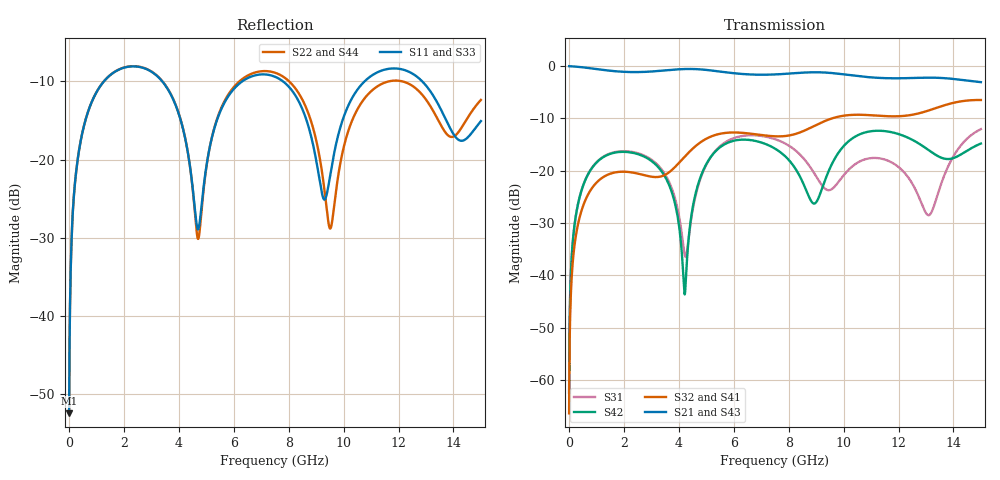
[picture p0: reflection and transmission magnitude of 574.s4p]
! Created with skrf 1.8.0 (http://scikit-rf.org).
# GHz S RI R 50.0
!freq ReS11 ImS11 ReS12 ImS12 ReS13 ImS13
! ReS14 ImS14
! ReS21 ImS21 ReS22 ImS22 ReS23 ImS23
! ReS24 ImS24
! ReS31 ImS31 ReS32 ImS32 ReS33 ImS33
! ReS34 ImS34
! ReS41 ImS41 ReS42 ImS42 ReS43 ImS43
! ReS44 ImS44
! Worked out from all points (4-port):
!   2499 points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, 5 MHz to 15 GHz, reference 50 ohm
!   strongest paths, dB at 5 MHz, 3.476 GHz, 7.19 GHz, 11.1 GHz, 15 GHz:
!     S21: 0.0, -0.8, -1.6, -2.2, -3.1
!     S43: 0.0, -0.8, -1.7, -2.2, -3.1
!     S32: -66.4, -20.8, -13.3, -9.4, -6.5
!     S41: -66.4, -20.9, -13.4, -9.5, -6.5
!     S42: -62.5, -20.9, -15.0, -12.4, -14.8
!     S31: -62.5, -20.5, -13.5, -17.6, -12.1
!   lowest |S11| = -52.4 dB at 5 MHz (marker M1), VSWR 1.00, Z = 50.2 + j0.146 ohm
!   |S11| at or under -10 dB: 3.393 GHz to 6.315 GHz (2.922 GHz wide, 60.2 % of centre); 7.788 GHz to 10.77 GHz (2.981 GHz wide, 32.1 % of centre); 12.86 GHz to end of sweep (the widest 3 of 4)
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0.005  0.00191 0.00145  0.9981 -0.00371  9.64e-05 0.000748  -9.36e-05 -0.000471
       0.9981 -0.00371  0.00191 0.00145  -9.36e-05 -0.000471  9.63e-05 0.000748
       9.64e-05 0.000748  -9.36e-05 -0.000471  0.00191 0.00145  0.9981 -0.00371
       -9.36e-05 -0.000471  9.63e-05 0.000748  0.9981 -0.00371  0.00191 0.00145
0.3626511  0.039 0.1066  0.9459 -0.2632  0.0189 0.0491  -0.0155 -0.03
           0.9459 -0.2632  0.0391 0.1066  -0.0155 -0.03  0.0184 0.0493
           0.0189 0.0491  -0.0155 -0.03  0.039 0.1066  0.9459 -0.2632
           -0.0155 -0.03  0.0184 0.0493  0.9459 -0.2632  0.0391 0.1066
1.675698  0.3379 0.1353  0.376 -0.8103  0.1478 0.0295  -0.0936 0.0218
          0.376 -0.8103  0.3393 0.1338  -0.0937 0.0221  0.1443 0.0371
          0.1478 0.0295  -0.0937 0.0221  0.3378 0.1355  0.376 -0.8103
          -0.0936 0.0218  0.1443 0.0371  0.376 -0.8103  0.3395 0.1337
4.214256  0.0738 -0.1202  -0.8588 -0.375  -0.0141 -0.00703  -0.0514 0.126
          -0.8588 -0.375  0.0697 -0.1235  -0.0495 0.1268  -0.00635 -0.00166
          -0.0141 -0.00703  -0.0495 0.1268  0.0747 -0.1204  -0.8588 -0.3749
          -0.0514 0.126  -0.00635 -0.00166  -0.8588 -0.3749  0.0693 -0.1243
5.483535  0.1391 0.1407  -0.7897 0.4048  0.1295 0.1096  0.1345 0.1798
          -0.7897 0.4048  0.1392 0.1451  0.1373 0.1782  0.1137 0.1211
          0.1295 0.1096  0.1373 0.1782  0.1392 0.1399  -0.7895 0.4051
          0.1345 0.1798  0.1137 0.1211  -0.7895 0.4051  0.1392 0.1455
9.50396  0.0605 0.0489  0.8565 0.0875  -0.0535 0.0376  0.0272 -0.31
         0.8565 0.0875  0.036 -0.00466  0.0173 -0.311  0.0855 0.0624
         -0.0535 0.0376  0.0173 -0.311  0.0649 0.0435  0.8565 0.0878
         0.0272 -0.31  0.0855 0.0624  0.8565 0.0878  0.0341 -0.00945
15  0.1718 0.0379  -0.6742 0.1957  0.1975 0.1526  0.1752 0.4385
    -0.6742 0.1957  0.2251 0.0839  0.1953 0.4321  0.0932 0.156
    0.1975 0.1526  0.1953 0.4321  0.1671 0.0344  -0.672 0.2014
    0.1752 0.4385  0.0932 0.156  -0.672 0.2014  0.2288 0.0895
